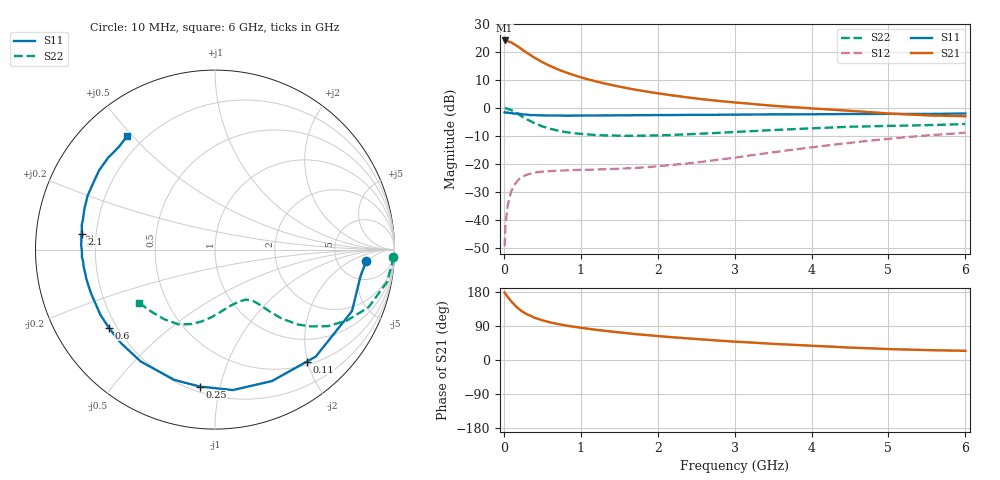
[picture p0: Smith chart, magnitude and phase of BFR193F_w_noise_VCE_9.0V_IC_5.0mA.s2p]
! (c) 2017  Infineon Technologies AG, Munich
! Infineon Technologies  Discrete & RF Semiconductors
! BFR193F
! VCE =  9.0 V,  IC =  5.0 mA
! Common Emitter S-Parameters:  Jan 2017
# GHz  S  MA  R  50
!  f  S11  S21  S12  S22
! GHz  MAG  ANG  MAG  ANG  MAG  ANG  MAG  ANG
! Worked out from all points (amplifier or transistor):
!   77 points, 10 MHz to 6 GHz, reference 50 ohm
!   highest |S21| = 24.1 dB at 10 MHz (marker M1)
!   |S21| within 3 dB of that: start of sweep to 225.2 MHz
!   unconditionally stable (mu >= 1): 1.857 GHz to 2.967 GHz
!   at 130 MHz: K = 0.10, MSG = 25.4 dB, |S12| = -27.9 dB
!   at 2.2 GHz: K = 1.06, MAG = 10.9 dB, |S12| = -20.3 dB
!   at 6 GHz: K = 0.76, MSG = 2.9 dB, |S12| = -8.8 dB
!   lowest NFmin = 0.81 dB at 450 MHz
!   S11 on the Smith chart (normalised r, x): 10 MHz: 10, -4; 110 MHz: 0.56, -1.99; 250 MHz: 0.23, -0.87; 600 MHz: 0.17, -0.32; 2.1 GHz: 0.14, +0.06; 6 GHz: 0.14, +0.48
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0.01  0.8442 -4.5  16.12 177.7  0.0034 91.2  0.9928 -2.3
0.02  0.8242 -10.4  16 174.5  0.0073 87.2  0.9908 -4.4
0.05  0.8366 -24.2  15.75 166.6  0.0175 78.7  0.9744 -10.8
0.1  0.8189 -46.7  14.81 153.8  0.0334 67.0  0.9142 -20.5
0.11  0.8071 -50.6  14.49 151.8  0.0356 64.8  0.8971 -21.9
0.15  0.7982 -66.6  13.41 143.0  0.045 58.3  0.8349 -28.3
0.2  0.7889 -82.7  12.1 133.9  0.0539 51.3  0.7591 -34.2
0.25  0.7676 -96.4  10.77 126.5  0.0597 46.3  0.6858 -38.6
0.3  0.7605 -107.3  9.684 120.7  0.0643 41.8  0.6266 -41.9
0.4  0.7484 -123.6  7.9 111.3  0.0703 35.9  0.5334 -46.0
0.5  0.7388 -135.0  6.603 104.8  0.0731 33.3  0.4702 -48.2
0.6  0.7346 -143.7  5.65 99.4  0.0747 31.8  0.4265 -49.7
0.7  0.7345 -150.4  4.925 95.1  0.0759 31.0  0.3959 -51.0
0.8  0.7307 -155.5  4.351 91.3  0.0767 31.2  0.3725 -52.3
1.1  0.735 -167.2  3.238 82.3  0.0789 34.3  0.3368 -56.5
1.3  0.7384 -172.7  2.768 77.4  0.0806 37.1  0.3247 -59.6
1.6  0.7416 -178.8  2.268 70.8  0.0836 42.8  0.3185 -65.6
2.1  0.7488 173.3  1.753 61.6  0.0937 53.8  0.3272 -75.9
3.1  0.7632 161.6  1.226 47.4  0.1356 69.8  0.379 -93.6
4.1  0.7744 150.2  0.966 36.7  0.206 74.9  0.4392 -109.1
5.1  0.7842 138.0  0.788 28.3  0.29 71.4  0.4819 -127.9
6  0.799 127.9  0.713 24.2  0.3617 65.2  0.5177 -145.1
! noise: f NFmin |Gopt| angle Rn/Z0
0.45  0.81  0.31  100  0.1
0.9  1.01  0.45  136  0.09
1.9  1.9  0.63  -179  0.06
2.4  2.34  0.67  -168  0.11
